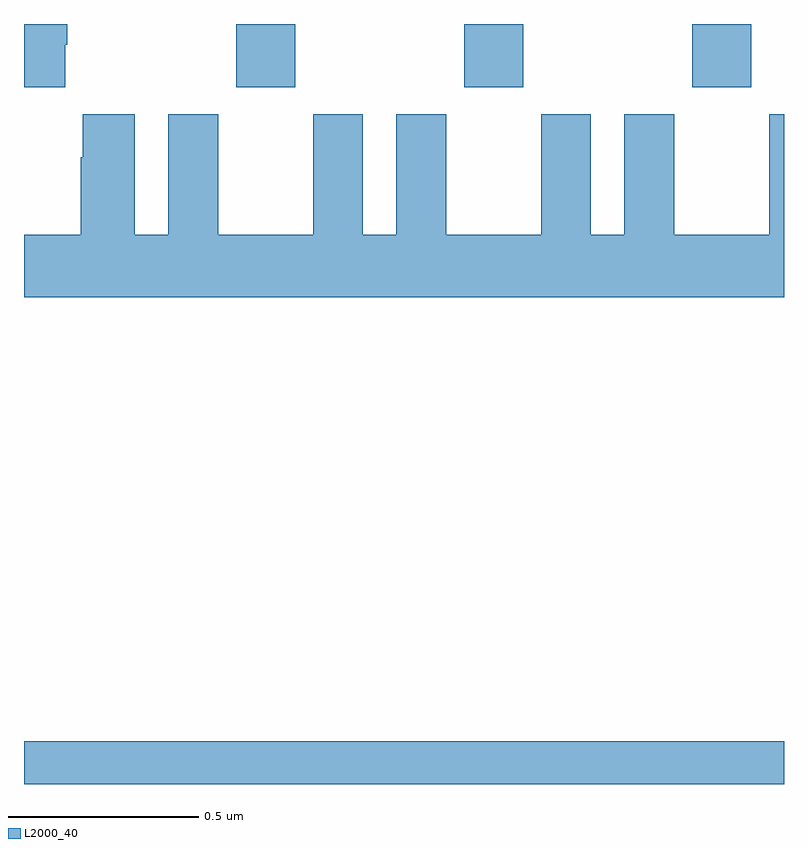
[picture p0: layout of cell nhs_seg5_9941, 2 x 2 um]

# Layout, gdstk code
import gdstk
lib = gdstk.Library(unit=1e-6, precision=1e-09)
def R(c, l, rs):  # rectangles x0, y0, x1, y1
    for r in rs: c.add(gdstk.rectangle(r[:2], r[2:], *l))
def A(c, l, x, y, w, h, nx, ny, dx, dy):  # array of equal rectangles
    R(c, l, [(x+i*dx, y+j*dy, x+i*dx+w, y+j*dy+h) for i in range(nx) for j in range(ny)])
def P(c, l, *ps):  # polygons
    for p in ps: c.add(gdstk.Polygon(p, *l))
L2000_40 = (2000, 40)

nhs_seg5_9941 = lib.new_cell('nhs_seg5_9941')
A(nhs_seg5_9941, L2000_40, 240.559, 870.633, 0.155, 0.166, 3, 1, 0.6, 0)
R(nhs_seg5_9941, L2000_40, [(240,868.799,242,868.912)])
P(nhs_seg5_9941, L2000_40, [(240,870.633),(240.109,870.633),(240.109,870.745),(240.114,870.745),(240.114,870.799),(240,870.799)],
  [(242,870.562),(241.961,870.562),(241.961,870.244),(241.711,870.244),(241.711,870.562),(241.58,870.562),(241.58,870.244),(241.492,870.244),(241.492,870.562),(241.361,870.562),(241.361,870.244),(241.111,870.244),(241.111,870.562),(240.98,870.562),(240.98,870.244),(240.892,870.244),(240.892,870.562),(240.761,870.562),(240.761,870.244),(240.511,870.244),(240.511,870.562),(240.38,870.562),(240.38,870.244),(240.292,870.244),(240.292,870.562),(240.155,870.562),(240.155,870.449),(240.149,870.449),(240.149,870.244),(240,870.244),(240,870.08),(242,870.08)])

lib.write_gds('nhs_seg5_9941.gds')
